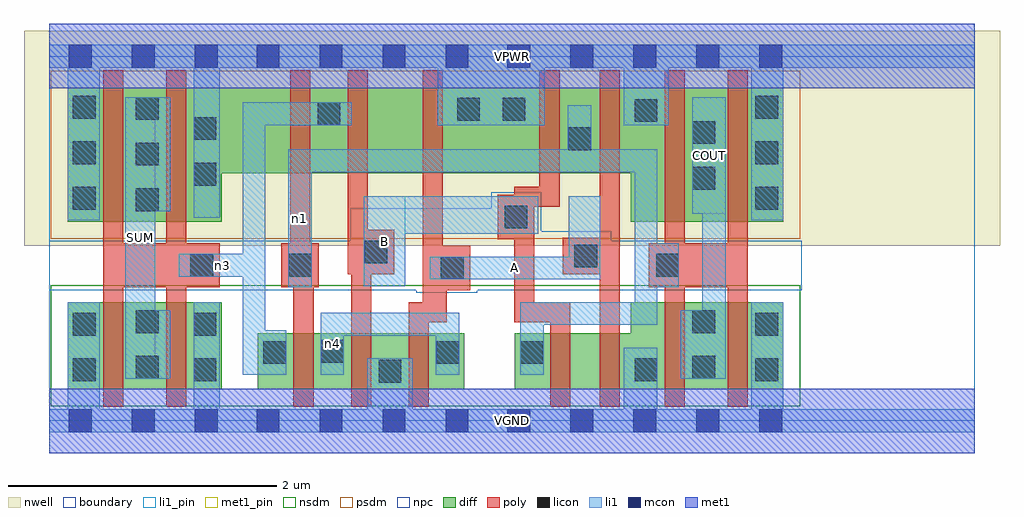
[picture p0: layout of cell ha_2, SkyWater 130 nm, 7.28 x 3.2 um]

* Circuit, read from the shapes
.subckt ha_2 A B COUT SUM VGND VPWR n1 n3 n4
XM1 SUM n3 VGND VSUBS sky130_fd_pr__nfet_01v8 w=0.65 l=0.15 m=2
XM2 n4 n1 n3 VSUBS sky130_fd_pr__nfet_01v8 w=0.42 l=0.15
XM3 VGND B n4 VSUBS sky130_fd_pr__nfet_01v8 w=0.42 l=0.15
XM4 n4 A VGND VSUBS sky130_fd_pr__nfet_01v8 w=0.42 l=0.15
XM5 n2 B n1 VSUBS sky130_fd_pr__nfet_01v8 w=0.42 l=0.15
XM6 VGND A n2 VSUBS sky130_fd_pr__nfet_01v8 w=0.42 l=0.15
XM7 COUT n1 VGND VSUBS sky130_fd_pr__nfet_01v8 w=0.65 l=0.15 m=2
XM8 SUM n3 VPWR n5 sky130_fd_pr__pfet_01v8 w=1 l=0.15 m=2
XM9 n3 n1 VPWR n5 sky130_fd_pr__pfet_01v8 w=0.64 l=0.15
XM10 n6 B n3 n5 sky130_fd_pr__pfet_01v8 w=0.64 l=0.15
XM11 VPWR A n6 n5 sky130_fd_pr__pfet_01v8 w=0.64 l=0.15
XM12 n1 B VPWR n5 sky130_fd_pr__pfet_01v8 w=0.64 l=0.15
XM13 VPWR A n1 n5 sky130_fd_pr__pfet_01v8 w=0.64 l=0.15
XM14 COUT n1 VPWR n5 sky130_fd_pr__pfet_01v8 w=1 l=0.15 m=2
.ends

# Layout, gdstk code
import gdstk
lib = gdstk.Library(unit=1e-6, precision=1e-09)
def R(c, l, rs):  # rectangles x0, y0, x1, y1
    for r in rs: c.add(gdstk.rectangle(r[:2], r[2:], *l))
def A(c, l, x, y, w, h, nx, ny, dx, dy):  # array of equal rectangles
    R(c, l, [(x+i*dx, y+j*dy, x+i*dx+w, y+j*dy+h) for i in range(nx) for j in range(ny)])
nwell = (64, 20)
diff = (65, 20)
poly = (66, 20)
licon = (66, 44)
li1_pin = (67, 16)
li1 = (67, 20)
mcon = (67, 44)
met1_pin = (68, 16)
met1 = (68, 20)
nsdm = (93, 44)
psdm = (94, 20)
npc = (95, 20)
boundary = (235, 4)

ha_2 = lib.new_cell('ha_2')
R(ha_2, nwell, [(-0.19,1.305,7.09,2.91), (0,1.305,6.9,2.91)])
R(ha_2, diff, [(0.135,0.235,1.285,0.885), (1.555,0.235,3.095,0.655), (3.47,0.235,5.475,0.655), (4.335,0.235,5.475,0.885), (0.135,1.485,1.285,2.485), (4.335,1.485,5.475,2.485), (0.135,1.845,5.475,2.485)])
R(ha_2, poly, [(0.4,0.105,0.55,2.615), (0.87,0.105,1.02,2.615), (1.82,0.105,1.97,1.325), (2.25,0.105,2.4,1.425), (2.68,0.105,2.83,0.885), (3.735,0.105,3.885,0.885), (4.105,0.105,4.255,2.615), (4.59,0.105,4.74,2.615), (5.06,0.105,5.21,2.615), (2.785,0.735,2.935,2.615), (2.785,0.735,2.965,1.305), (3.465,0.735,3.615,1.745), (3.465,0.735,3.885,0.885), (2.785,0.975,3.14,1.305), (0.4,0.995,1.27,1.325), (1.73,0.995,2.01,1.325), (1.795,0.995,1.945,2.615), (4.47,0.995,5.21,1.325), (2.225,1.095,2.375,2.615), (2.225,1.095,2.57,1.425), (3.83,1.095,4.255,1.365), (3.345,1.355,3.615,1.685), (3.465,1.595,3.805,1.745), (3.655,1.595,3.805,2.615)])
A(ha_2, licon, 0.645, 1.565, 0.17, 0.17, 1, 3, 0, 0.34)
A(ha_2, licon, 0.175, 1.575, 0.17, 0.17, 1, 3, 0, 0.34)
A(ha_2, licon, 5.265, 1.575, 0.17, 0.17, 1, 3, 0, 0.34)
R(ha_2, licon, [(2.455,0.285,2.625,0.455), (0.175,0.295,0.345,0.465), (1.075,0.295,1.245,0.465), (4.365,0.295,4.535,0.465), (5.265,0.295,5.435,0.465), (0.645,0.315,0.815,0.485), (4.795,0.315,4.965,0.485), (1.595,0.425,1.765,0.595), (2.885,0.425,3.055,0.595), (3.51,0.425,3.68,0.595), (2.025,0.435,2.195,0.605), (0.175,0.635,0.345,0.805), (1.075,0.635,1.245,0.805), (5.265,0.635,5.435,0.805), (0.645,0.655,0.815,0.825), (4.795,0.655,4.965,0.825), (2.92,1.055,3.09,1.225), (1.05,1.075,1.22,1.245), (1.785,1.075,1.955,1.245), (4.525,1.075,4.695,1.245), (3.915,1.145,4.085,1.315), (2.35,1.175,2.52,1.345), (3.395,1.435,3.565,1.605), (4.795,1.725,4.965,1.895), (1.075,1.755,1.245,1.925), (3.87,2.02,4.04,2.19), (4.795,2.065,4.965,2.235), (1.075,2.095,1.245,2.265), (2,2.205,2.17,2.375), (4.365,2.23,4.535,2.4), (3.04,2.24,3.21,2.41), (3.38,2.24,3.55,2.41)])
R(ha_2, li1_pin, [(0.565,0.315,0.79,2.415), (2.345,1.005,2.655,1.675), (2.835,1.055,4.11,1.225), (4.795,1.545,5.045,2.415)])
R(ha_2, li1, [(0,-0.085,6.9,0.085), (0.135,-0.085,0.375,0.885), (1.075,-0.085,1.27,0.885), (2.37,-0.085,2.71,0.465), (4.285,-0.085,4.535,0.545), (5.235,-0.085,5.475,0.885), (0.565,0.315,0.79,2.415), (0.565,0.315,0.9,0.825), (4.71,0.315,5.045,0.825), (4.87,0.315,5.045,2.415), (1.44,0.345,1.61,2.375), (1.44,0.345,1.765,0.675), (2.025,0.345,2.195,0.805), (2.88,0.345,3.055,0.805), (3.51,0.345,3.685,0.885), (2.025,0.635,3.055,0.805), (3.51,0.715,4.535,0.885), (4.365,0.715,4.535,2.025), (1.78,0.995,1.955,2.025), (4.365,0.995,4.695,1.325), (2.345,1.005,2.655,1.675), (2.835,1.055,4.11,1.225), (3.875,1.055,4.11,1.675), (0.965,1.075,1.61,1.245), (2.345,1.395,3.645,1.675), (0.135,1.495,0.375,2.805), (5.235,1.495,5.475,2.805), (1.075,1.515,1.27,2.805), (4.795,1.545,5.045,2.415), (0.565,1.565,0.9,2.415), (1.78,1.855,4.535,2.025), (3.865,1.855,4.04,2.355), (1.44,2.205,2.255,2.375), (2.895,2.205,3.695,2.805), (4.285,2.205,4.62,2.805), (0,2.635,6.9,2.805)])
A(ha_2, mcon, 0.145, -0.085, 0.17, 0.17, 3, 2, 0.47, 2.72)
A(ha_2, mcon, 1.545, -0.085, 0.17, 0.17, 4, 2, 0.47, 2.72)
A(ha_2, mcon, 3.415, -0.085, 0.17, 0.17, 5, 2, 0.47, 2.72)
R(ha_2, met1_pin, [(0,-0.24,6.9,0.24), (0,2.48,6.9,2.96)])
R(ha_2, met1, [(0,-0.24,6.9,0.24), (0,2.48,6.9,2.96)])
R(ha_2, nsdm, [(0.01,0.11,5.6,1.01)])
R(ha_2, psdm, [(0.01,1.36,5.6,2.61)])
R(ha_2, npc, [(2.735,0.955,3.19,1.585), (0,0.975,5.61,1.345), (3.295,0.975,3.67,1.705), (3.295,0.975,4.19,1.415), (2.245,1.345,3.67,1.585)])
R(ha_2, boundary, [(0,0,6.9,2.72)])
ha_2.add(gdstk.Label('A', (3.472,1.14), layer=67, texttype=5))
ha_2.add(gdstk.Label('B', (2.5,1.34), layer=67, texttype=5))
ha_2.add(gdstk.Label('COUT', (4.92,1.98), layer=67, texttype=5))
ha_2.add(gdstk.Label('SUM', (0.677,1.365), layer=67, texttype=5))
ha_2.add(gdstk.Label('n4', (2.11,0.575), layer=67, texttype=5))
ha_2.add(gdstk.Label('n1', (1.867,1.51), layer=67, texttype=5))
ha_2.add(gdstk.Label('n3', (1.287,1.16), layer=67, texttype=5))
ha_2.add(gdstk.Label('VPWR', (3.45,2.72), layer=68, texttype=5))
ha_2.add(gdstk.Label('VGND', (3.45,0), layer=68, texttype=5))
ha_2.add(gdstk.Label('A', (3.472,1.14), layer=67, texttype=16))
ha_2.add(gdstk.Label('B', (2.5,1.34), layer=67, texttype=16))
ha_2.add(gdstk.Label('COUT', (4.92,1.98), layer=67, texttype=16))
ha_2.add(gdstk.Label('SUM', (0.677,1.365), layer=67, texttype=16))
ha_2.add(gdstk.Label('VPWR', (3.45,2.72), layer=68, texttype=16))
ha_2.add(gdstk.Label('VGND', (3.45,0), layer=68, texttype=16))

lib.write_gds('ha_2.gds')
